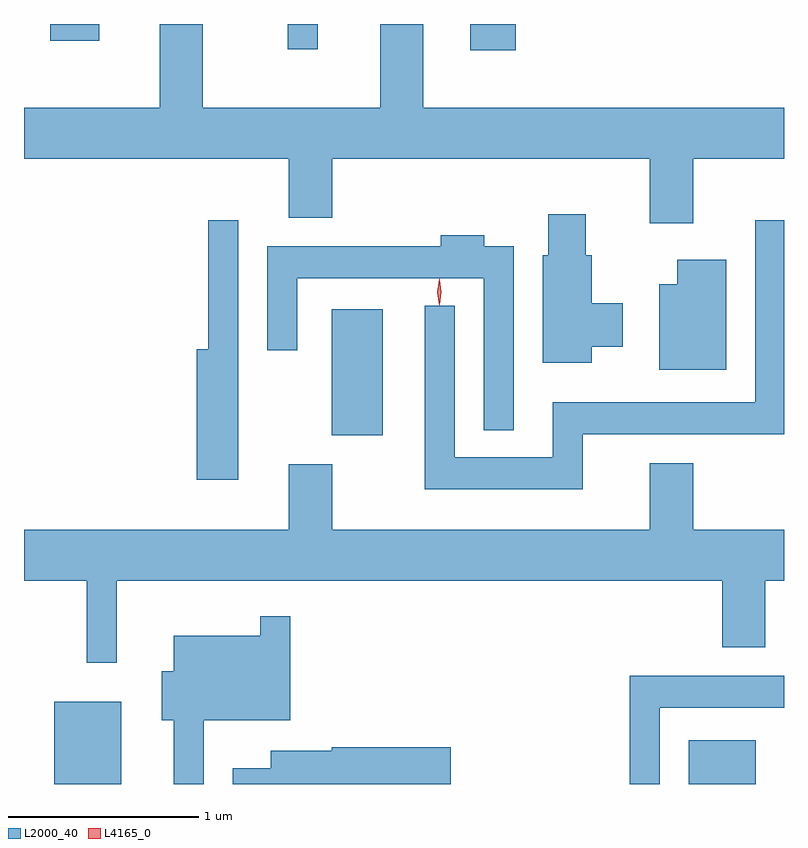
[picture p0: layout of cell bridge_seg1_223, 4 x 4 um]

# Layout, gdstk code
import gdstk
lib = gdstk.Library(unit=1e-6, precision=1e-09)
def R(c, l, rs):  # rectangles x0, y0, x1, y1
    for r in rs: c.add(gdstk.rectangle(r[:2], r[2:], *l))
def P(c, l, *ps):  # polygons
    for p in ps: c.add(gdstk.Polygon(p, *l))
L2000_40 = (2000, 40)
L4165_0 = (4165, 0)

bridge_seg1_223 = lib.new_cell('bridge_seg1_223')
R(bridge_seg1_223, L2000_40, [(830.226,882.965,830.579,883.399), (833.566,882.965,833.919,883.194), (831.686,884.801,831.954,885.464), (832.416,886.826,832.654,886.965), (831.456,886.833,831.614,886.965), (830.206,886.876,830.464,886.965)])
P(bridge_seg1_223, L2000_40, [(833.589,886.256),(834.067,886.256),(834.067,886.524),(832.169,886.524),(832.169,886.965),(831.941,886.965),(831.941,886.524),(831.009,886.524),(831.009,886.965),(830.781,886.965),(830.781,886.524),(830.067,886.524),(830.067,886.256),(831.461,886.256),(831.461,885.946),(831.689,885.946),(831.689,886.256),(833.361,886.256),(833.361,885.916),(833.589,885.916)],
  [(833.054,885.266),(833.219,885.266),(833.219,885.494),(833.054,885.494),(833.054,885.749),(833.024,885.749),(833.024,885.964),(832.826,885.964),(832.826,885.749),(832.796,885.749),(832.796,885.181),(833.054,885.181)],
  [(833.009,884.806),(834.067,884.806),(834.067,885.933),(833.916,885.933),(833.916,884.974),(832.851,884.974),(832.851,884.684),(832.334,884.684),(832.334,885.483),(832.176,885.483),(832.176,884.516),(833.009,884.516)],
  [(831.194,885.933),(831.036,885.933),(831.036,885.254),(830.976,885.254),(830.976,884.566),(831.194,884.566)],
  [(832.644,885.794),(832.489,885.794),(832.489,885.854),(832.261,885.854),(832.261,885.794),(831.346,885.794),(831.346,885.248),(831.504,885.248),(831.504,885.626),(832.486,885.626),(832.486,884.828),(832.644,884.828)],
  [(833.764,885.724),(833.506,885.724),(833.506,885.594),(833.411,885.594),(833.411,885.146),(833.764,885.146)],
  [(830.554,884.036),(833.741,884.036),(833.741,883.686),(833.969,883.686),(833.969,884.036),(834.067,884.036),(834.067,884.304),(833.589,884.304),(833.589,884.654),(833.361,884.654),(833.361,884.304),(831.689,884.304),(831.689,884.649),(831.461,884.649),(831.461,884.304),(830.067,884.304),(830.067,884.036),(830.396,884.036),(830.396,883.603),(830.554,883.603)],
  [(831.014,883.301),(831.469,883.301),(831.469,883.848),(831.311,883.848),(831.311,883.744),(830.856,883.744),(830.856,883.559),(830.791,883.559),(830.791,883.301),(830.856,883.301),(830.856,882.965),(831.014,882.965)],
  [(833.414,883.366),(834.067,883.366),(834.067,883.534),(833.256,883.534),(833.256,882.965),(833.414,882.965)],
  [(832.314,883.159),(831.686,883.159),(831.686,883.139),(831.366,883.139),(831.366,883.049),(831.166,883.049),(831.166,882.965),(832.314,882.965)])
P(bridge_seg1_223, L4165_0, [(832.252,885.484),(832.252,885.484),(832.242,885.553),(832.252,885.622),(832.252,885.623),(832.253,885.622),(832.262,885.553),(832.253,885.484)],
  [(832.254,885.487),(832.254,885.488),(832.244,885.554),(832.254,885.62),(832.254,885.621),(832.255,885.62),(832.264,885.554),(832.255,885.488)])

lib.write_gds('bridge_seg1_223.gds')
